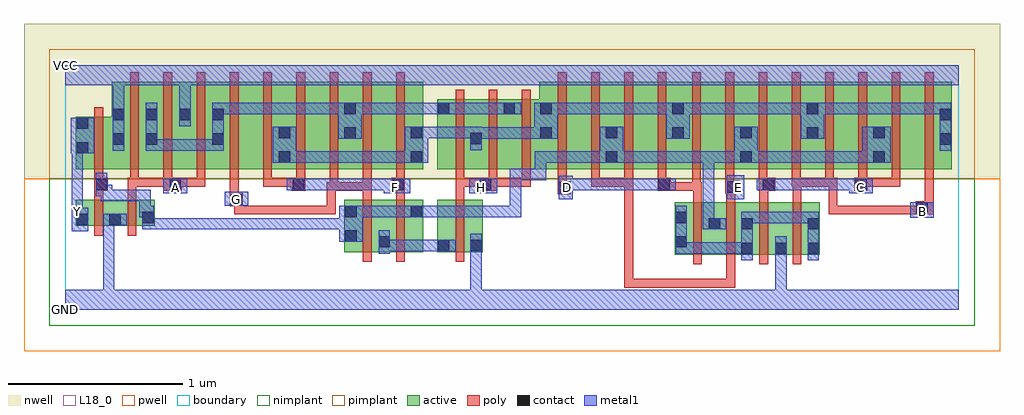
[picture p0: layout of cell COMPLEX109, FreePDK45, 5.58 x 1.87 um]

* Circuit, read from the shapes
.subckt COMPLEX109 A B C D E F G GND H VCC Y
M1 GND n1 Y VSUBS nfet w=0.15u l=0.05u
M2 n1 A GND VSUBS nfet w=0.15u l=0.05u
M3 n2 G n1 VSUBS nfet w=0.3u l=0.05u
M4 n1 F n2 VSUBS nfet w=0.3u l=0.05u
M5 GND H n2 VSUBS nfet w=0.3u l=0.05u
M6 n1 D n3 VSUBS nfet w=0.3u l=0.05u
M7 n3 E n1 VSUBS nfet w=0.3u l=0.05u
M8 GND C n3 VSUBS nfet w=0.3u l=0.05u
M9 n3 B GND VSUBS nfet w=0.3u l=0.05u
M10 VCC n1 Y n4 pfet w=0.3u l=0.05u
M11 n5 A VCC n4 pfet w=0.5u l=0.05u m=3
M12 n6 G n5 n4 pfet w=0.5u l=0.05u
M13 n7 F n6 n4 pfet w=0.5u l=0.05u
M14 n8 F n7 n4 pfet w=0.5u l=0.05u
M15 n5 G n8 n4 pfet w=0.5u l=0.05u
M16 n9 G n5 n4 pfet w=0.5u l=0.05u
M17 n7 F n9 n4 pfet w=0.5u l=0.05u
M18 n7 H n5 n4 pfet w=0.4u l=0.05u m=3
M19 n10 D n7 n4 pfet w=0.5u l=0.05u
M20 n1 E n10 n4 pfet w=0.5u l=0.05u
M21 n11 E n1 n4 pfet w=0.5u l=0.05u
M22 n7 D n11 n4 pfet w=0.5u l=0.05u
M23 n12 D n7 n4 pfet w=0.5u l=0.05u
M24 n1 E n12 n4 pfet w=0.5u l=0.05u
M25 n13 C n1 n4 pfet w=0.5u l=0.05u
M26 n7 B n13 n4 pfet w=0.5u l=0.05u
M27 n14 B n7 n4 pfet w=0.5u l=0.05u
M28 n1 C n14 n4 pfet w=0.5u l=0.05u
M29 n15 C n1 n4 pfet w=0.5u l=0.05u
M30 n7 B n15 n4 pfet w=0.5u l=0.05u
.ends

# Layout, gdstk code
import gdstk
lib = gdstk.Library(unit=1e-6, precision=1e-09)
def R(c, l, rs):  # rectangles x0, y0, x1, y1
    for r in rs: c.add(gdstk.rectangle(r[:2], r[2:], *l))
def A(c, l, x, y, w, h, nx, ny, dx, dy):  # array of equal rectangles
    R(c, l, [(x+i*dx, y+j*dy, x+i*dx+w, y+j*dy+h) for i in range(nx) for j in range(ny)])
active = (1, 0)
pwell = (2, 0)
nwell = (3, 0)
nimplant = (4, 0)
pimplant = (5, 0)
poly = (9, 0)
contact = (10, 0)
metal1 = (11, 0)
L18_0 = (18, 0)
boundary = (235, 0)

complex109 = lib.new_cell('COMPLEX109')
A(complex109, active, 0.267, 0.805, 0.265, 0.5, 3, 1, 0.19, 0)
A(complex109, active, 3.705, 0.805, 0.225, 0.5, 4, 1, 0.38, 0)
A(complex109, active, 3.855, 0.805, 0.23, 0.5, 3, 1, 0.38, 0)
R(complex109, active, [(3.485,0.315,3.56,0.615), (3.485,0.315,3.75,0.615), (3.675,0.315,3.935,0.615), (3.86,0.315,4.13,0.615), (3.86,0.315,3.935,0.53), (4.055,0.315,4.315,0.615), (4.055,0.315,4.13,0.497), (4.24,0.315,4.315,0.615), (1.597,0.33,1.862,0.63), (1.787,0.33,2.047,0.63), (1.787,0.33,1.862,0.497), (2.127,0.33,2.202,0.63), (2.127,0.33,2.387,0.63), (2.312,0.33,2.387,0.532), (1.972,0.332,2.047,0.63), (1.597,0.357,1.672,0.63), (3.675,0.357,3.75,0.53), (0.062,0.48,0.137,0.63), (0.062,0.48,0.322,0.63), (0.247,0.48,0.512,0.63), (0.247,0.48,0.322,0.585), (0.437,0.48,0.512,0.63), (0.062,0.805,0.137,1.105), (0.062,0.805,0.342,1.105), (0.267,0.805,0.342,1.305), (0.837,0.805,1.062,1.305), (1.062,0.805,1.292,1.305), (1.217,0.805,1.442,1.305), (1.442,0.805,1.667,1.305), (1.592,0.805,1.822,1.305), (1.822,0.805,2.047,1.305), (1.972,0.805,2.047,1.07), (2.127,0.805,2.202,1.2), (2.127,0.805,2.387,1.205), (2.312,0.805,2.577,1.205), (2.502,0.805,2.787,1.205), (2.712,0.805,2.937,1.305), (2.937,0.805,3.162,1.305), (3.087,0.805,3.317,1.305), (3.087,0.805,3.162,1.07), (3.317,0.805,3.542,1.305), (3.467,0.805,3.542,1.2), (3.467,0.805,3.705,1.305), (3.855,0.805,3.93,1.07), (4.235,0.805,4.31,1.2), (4.615,0.805,4.69,1.07), (4.995,0.805,5.07,1.2), (0.457,0.807,0.532,1.2), (0.647,0.807,0.722,1.305), (0.837,0.807,0.912,1.2), (1.217,0.807,1.292,1.07), (1.592,0.807,1.667,1.2), (2.312,0.907,2.387,1.07), (2.502,0.907,2.577,1.2), (2.712,0.907,2.787,1.2)])
R(complex109, pwell, [(-0.235,-0.235,5.345,0.75)])
R(complex109, nwell, [(-0.235,0.75,5.345,1.635)])
R(complex109, nimplant, [(-0.09,-0.09,5.2,0.75)])
R(complex109, pimplant, [(-0.09,0.75,5.2,1.49)])
A(complex109, poly, 3.59, 0.26, 0.05, 0.41, 4, 1, 0.19, 0)
A(complex109, poly, 0.372, 0.705, 0.05, 0.095, 3, 1, 0.19, 0)
A(complex109, poly, 2.232, 0.705, 0.05, 0.095, 3, 1, 0.19, 0)
A(complex109, poly, 3.007, 0.705, 0.05, 0.095, 3, 1, 0.19, 0)
A(complex109, poly, 3.965, 0.705, 0.05, 0.095, 5, 1, 0.19, 0)
A(complex109, poly, 0.372, 0.75, 0.05, 0.61, 9, 1, 0.19, 0)
A(complex109, poly, 2.232, 0.75, 0.05, 0.51, 3, 1, 0.19, 0)
A(complex109, poly, 2.817, 0.75, 0.05, 0.61, 4, 1, 0.19, 0)
A(complex109, poly, 3.585, 0.75, 0.05, 0.61, 8, 1, 0.19, 0)
R(complex109, poly, [(3.197,0.127,3.247,0.177), (3.197,0.127,3.462,0.177), (3.197,0.127,3.247,0.755), (3.412,0.127,3.462,0.177), (3.412,0.127,3.462,0.177), (3.412,0.127,3.462,0.177), (3.412,0.127,3.595,0.177), (3.545,0.127,3.595,0.177), (3.545,0.127,3.83,0.177), (3.78,0.127,3.83,0.177), (3.78,0.127,3.83,0.177), (3.78,0.127,3.83,0.177), (3.78,0.127,3.83,0.31), (1.702,0.275,1.752,0.685), (1.892,0.275,1.942,0.685), (2.232,0.275,2.282,0.685), (0.167,0.425,0.217,0.685), (0.357,0.425,0.407,0.685), (0.967,0.547,1.017,0.597), (0.967,0.547,1.017,0.597), (0.967,0.547,1.017,0.597), (0.967,0.547,1.017,0.642), (0.967,0.547,1.202,0.597), (1.152,0.547,1.202,0.597), (1.152,0.547,1.202,0.597), (1.152,0.547,1.202,0.597), (1.152,0.547,1.335,0.597), (1.285,0.547,1.335,0.597), (1.285,0.547,1.547,0.597), (1.497,0.547,1.547,0.597), (1.497,0.547,1.547,0.597), (1.497,0.547,1.547,0.597), (1.497,0.547,1.547,0.597), (1.497,0.547,1.547,0.597), (1.497,0.547,1.547,0.73), (4.365,0.547,4.415,0.597), (4.365,0.547,4.415,0.597), (4.365,0.547,4.415,0.597), (4.365,0.547,4.547,0.597), (4.365,0.547,4.415,0.755), (4.497,0.547,4.547,0.597), (4.497,0.547,4.72,0.597), (4.67,0.547,4.72,0.597), (4.67,0.547,4.72,0.597), (4.67,0.547,4.72,0.597), (4.67,0.547,4.912,0.597), (4.862,0.547,4.912,0.597), (4.862,0.547,4.912,0.597), (4.862,0.547,4.912,0.597), (4.862,0.547,4.912,0.597), (4.862,0.547,4.912,0.597), (4.862,0.547,4.912,0.597), (4.862,0.547,4.965,0.622), (4.915,0.572,4.965,0.8), (0.942,0.592,1.017,0.667), (0.967,0.592,1.017,0.642), (0.967,0.592,1.017,0.642), (0.942,0.617,0.992,0.8), (3.59,0.62,3.64,0.73), (3.78,0.62,3.83,0.715), (3.97,0.62,4.02,0.73), (4.16,0.62,4.21,0.755), (0.167,0.635,0.217,0.73), (0.357,0.635,0.407,0.755), (1.702,0.635,1.752,0.73), (1.892,0.635,1.942,0.73), (2.232,0.635,2.282,0.755), (2.817,0.662,2.892,0.737), (3.775,0.665,3.852,0.74), (0.167,0.68,0.245,0.755), (0.562,0.68,0.667,0.755), (1.297,0.68,1.372,0.755), (1.497,0.68,1.562,0.73), (1.512,0.68,1.562,0.8), (1.512,0.68,1.68,0.73), (1.63,0.68,1.68,0.73), (1.63,0.68,1.752,0.73), (1.702,0.68,1.752,0.73), (1.702,0.68,1.752,0.8), (1.867,0.68,1.942,0.755), (2.365,0.68,2.472,0.755), (3.387,0.68,3.462,0.755), (3.412,0.68,3.462,0.73), (3.412,0.68,3.462,0.73), (3.412,0.68,3.635,0.73), (3.585,0.68,3.64,0.73), (3.585,0.68,3.635,0.8), (3.965,0.68,4.06,0.755), (4.512,0.68,4.587,0.755), (2.817,0.687,2.867,0.8), (3.775,0.69,3.825,0.8), (0.167,0.705,0.217,0.8), (0.357,0.705,0.422,0.755), (0.372,0.705,0.422,0.755), (0.372,0.705,0.422,0.755), (0.372,0.705,0.612,0.755), (0.617,0.705,0.802,0.755), (0.752,0.705,0.802,0.755), (0.752,0.705,0.802,0.755), (0.752,0.705,0.802,0.755), (1.132,0.705,1.182,0.755), (1.132,0.705,1.182,0.8), (1.132,0.705,1.347,0.755), (1.297,0.705,1.347,0.755), (1.297,0.705,1.347,0.755), (1.322,0.705,1.372,0.8), (1.892,0.705,1.942,0.8), (2.232,0.705,2.282,0.755), (2.232,0.705,2.282,0.755), (2.232,0.705,2.282,0.755), (2.232,0.705,2.415,0.755), (2.422,0.705,2.662,0.755), (2.612,0.705,2.662,0.755), (2.612,0.705,2.662,0.755), (2.612,0.705,2.662,0.755), (3.007,0.705,3.057,0.755), (3.007,0.705,3.057,0.755), (3.007,0.705,3.057,0.755), (3.007,0.705,3.247,0.755), (3.197,0.705,3.247,0.755), (3.197,0.705,3.247,0.755), (3.197,0.705,3.247,0.755), (3.197,0.705,3.247,0.755), (3.197,0.705,3.247,0.755), (3.197,0.705,3.247,0.755), (3.197,0.705,3.247,0.755), (3.197,0.705,3.247,0.755), (3.197,0.705,3.247,0.755), (4.155,0.705,4.21,0.755), (4.16,0.705,4.21,0.755), (4.16,0.705,4.21,0.755), (4.16,0.705,4.395,0.755), (4.345,0.705,4.407,0.755), (4.357,0.705,4.407,0.755), (4.357,0.705,4.415,0.755), (4.537,0.705,4.775,0.755), (4.725,0.705,4.775,0.755), (4.725,0.705,4.775,0.755), (4.725,0.705,4.775,0.755), (0.167,0.75,0.217,1.16)])
A(complex109, contact, 0.272, 1.085, 0.065, 0.065, 4, 1, 0.19, 0)
R(complex109, contact, [(3.865,0.32,3.93,0.385), (4.06,0.32,4.125,0.385), (4.245,0.32,4.31,0.385), (2.132,0.335,2.197,0.4), (2.317,0.335,2.382,0.4), (1.792,0.357,1.857,0.422), (3.49,0.357,3.555,0.422), (1.602,0.39,1.667,0.455), (3.68,0.46,3.745,0.525), (3.865,0.46,3.93,0.525), (4.245,0.46,4.31,0.525), (0.067,0.485,0.132,0.55), (0.252,0.485,0.317,0.55), (0.442,0.495,0.507,0.56), (3.49,0.497,3.555,0.562), (1.602,0.53,1.667,0.595), (1.977,0.53,2.042,0.595), (4.867,0.552,4.932,0.617), (0.947,0.597,1.012,0.662), (2.822,0.667,2.887,0.732), (3.782,0.67,3.847,0.735), (0.175,0.685,0.24,0.75), (0.597,0.685,0.662,0.75), (1.302,0.685,1.367,0.75), (1.872,0.685,1.937,0.75), (2.37,0.685,2.435,0.75), (3.392,0.685,3.457,0.75), (3.99,0.685,4.055,0.75), (4.517,0.685,4.582,0.75), (1.222,0.842,1.287,0.907), (1.977,0.842,2.042,0.907), (3.092,0.842,3.157,0.907), (3.86,0.842,3.925,0.907), (4.62,0.842,4.685,0.907), (0.067,0.895,0.132,0.96), (0.272,0.945,0.337,1.01), (0.462,0.945,0.527,1.01), (0.842,0.945,0.907,1.01), (5,0.945,5.065,1.01), (2.317,0.947,2.382,1.012), (1.597,0.98,1.662,1.045), (2.717,0.98,2.782,1.045), (3.472,0.98,3.537,1.045), (4.24,0.98,4.305,1.045), (1.222,0.982,1.287,1.047), (1.977,0.982,2.042,1.047), (3.092,0.982,3.157,1.047), (3.86,0.982,3.925,1.047), (4.62,0.982,4.685,1.047), (0.067,1.035,0.132,1.1), (5,1.085,5.065,1.15), (1.597,1.12,1.662,1.185), (2.132,1.12,2.197,1.185), (2.507,1.12,2.572,1.185), (2.717,1.12,2.782,1.185), (3.472,1.12,3.537,1.185), (4.24,1.12,4.305,1.185)])
R(complex109, metal1, [(0,0,5.11,0.115), (0.217,0.05,0.282,0.115), (0.217,0.05,0.282,0.115), (0.217,0.05,0.282,0.115), (0.217,0.05,0.282,0.115), (0.217,0.05,0.282,0.115), (0.217,0.05,0.282,0.115), (0.217,0.05,0.282,0.55), (2.317,0.05,2.382,0.115), (2.317,0.05,2.382,0.115), (2.317,0.05,2.382,0.115), (2.317,0.05,2.382,0.115), (2.317,0.05,2.382,0.365), (4.06,0.05,4.125,0.35), (3.865,0.285,3.93,0.56), (4.06,0.285,4.125,0.35), (4.06,0.285,4.125,0.35), (4.06,0.285,4.125,0.35), (4.06,0.285,4.125,0.35), (4.06,0.285,4.125,0.42), (4.245,0.285,4.31,0.56), (2.317,0.3,2.382,0.435), (1.792,0.322,1.857,0.457), (3.49,0.322,3.555,0.597), (3.49,0.322,3.71,0.387), (3.645,0.322,3.71,0.387), (3.645,0.322,3.71,0.387), (3.645,0.322,3.71,0.387), (3.645,0.322,3.882,0.387), (3.817,0.322,3.882,0.387), (3.817,0.322,3.93,0.387), (1.792,0.335,1.965,0.4), (1.9,0.335,1.965,0.4), (1.9,0.335,2.05,0.4), (1.985,0.335,2.05,0.4), (1.985,0.335,2.162,0.4), (2.097,0.335,2.232,0.4), (1.567,0.39,1.702,0.595), (0.037,0.45,0.132,0.585), (0.442,0.46,0.507,0.595), (0.442,0.46,0.632,0.525), (0.567,0.46,0.632,0.525), (0.567,0.46,0.77,0.525), (0.705,0.46,0.77,0.525), (0.705,0.46,0.77,0.525), (0.705,0.46,0.77,0.525), (0.705,0.46,0.907,0.525), (0.842,0.46,0.907,0.525), (0.842,0.46,0.907,0.525), (0.842,0.46,0.907,0.525), (0.842,0.46,1.057,0.525), (0.992,0.46,1.057,0.525), (0.992,0.46,1.195,0.525), (1.13,0.46,1.195,0.525), (1.13,0.46,1.195,0.525), (1.13,0.46,1.195,0.525), (1.13,0.46,1.46,0.525), (1.395,0.46,1.46,0.525), (1.395,0.46,1.46,0.525), (1.395,0.46,1.46,0.525), (1.395,0.46,1.597,0.525), (1.532,0.46,1.597,0.525), (1.532,0.46,1.632,0.525), (3.645,0.46,3.78,0.525), (3.645,0.46,3.71,0.907), (0.217,0.485,0.352,0.55), (0.037,0.492,0.102,0.557), (0.037,0.492,0.102,0.627), (3.865,0.495,4.097,0.56), (4.032,0.495,4.097,0.56), (4.032,0.495,4.097,0.56), (4.032,0.495,4.097,0.56), (4.032,0.495,4.27,0.56), (4.205,0.495,4.27,0.56), (4.205,0.495,4.31,0.56), (4.832,0.527,4.967,0.617), (0.425,0.53,0.507,0.595), (0.425,0.53,0.49,0.687), (1.637,0.53,1.735,0.595), (1.67,0.53,1.735,0.595), (1.67,0.53,1.87,0.595), (1.805,0.53,1.87,0.595), (1.805,0.53,2.007,0.595), (1.942,0.53,2.007,0.595), (1.942,0.53,2.007,0.595), (1.942,0.53,2.077,0.595), (2.012,0.53,2.24,0.595), (2.175,0.53,2.24,0.595), (2.175,0.53,2.24,0.595), (2.175,0.53,2.24,0.595), (2.175,0.53,2.377,0.595), (2.312,0.53,2.377,0.595), (2.312,0.53,2.377,0.595), (2.312,0.53,2.377,0.595), (2.312,0.53,2.607,0.595), (2.542,0.53,2.607,0.595), (2.542,0.53,2.607,0.807), (0.037,0.562,0.102,0.96), (0.912,0.597,1.047,0.675), (0.205,0.622,0.27,0.687), (0.205,0.622,0.49,0.687), (0.205,0.622,0.27,0.715), (2.822,0.632,2.902,0.767), (3.782,0.632,3.882,0.77), (0.175,0.65,0.24,0.785), (0.175,0.65,0.27,0.715), (0.205,0.65,0.27,0.715), (0.562,0.667,0.697,0.75), (1.822,0.667,1.972,0.75), (2.312,0.667,2.47,0.75), (4.482,0.667,4.617,0.75), (1.267,0.685,1.402,0.75), (1.337,0.685,1.46,0.75), (1.395,0.685,1.46,0.75), (1.395,0.685,1.597,0.75), (1.532,0.685,1.597,0.75), (1.532,0.685,1.597,0.75), (1.532,0.685,1.597,0.75), (1.532,0.685,1.75,0.75), (1.685,0.685,1.75,0.75), (1.685,0.685,1.84,0.75), (1.775,0.685,1.84,0.75), (1.775,0.685,1.887,0.75), (2.837,0.685,2.955,0.75), (2.89,0.685,2.955,0.75), (2.89,0.685,3.122,0.75), (3.057,0.685,3.122,0.75), (3.057,0.685,3.122,0.75), (3.057,0.685,3.122,0.75), (3.057,0.685,3.26,0.75), (3.195,0.685,3.26,0.75), (3.195,0.685,3.34,0.75), (3.275,0.685,3.34,0.75), (3.275,0.685,3.422,0.75), (3.357,0.685,3.492,0.75), (3.955,0.685,4.09,0.75), (4.025,0.685,4.132,0.75), (4.067,0.685,4.132,0.75), (4.067,0.685,4.27,0.75), (4.205,0.685,4.27,0.75), (4.205,0.685,4.27,0.75), (4.205,0.685,4.27,0.75), (4.205,0.685,4.407,0.75), (4.342,0.685,4.407,0.75), (4.342,0.685,4.485,0.75), (4.42,0.685,4.485,0.75), (4.42,0.685,4.547,0.75), (2.542,0.742,2.607,0.807), (2.542,0.742,2.75,0.807), (2.685,0.742,2.75,0.807), (2.685,0.742,2.75,0.807), (2.685,0.742,2.75,0.807), (2.685,0.742,2.75,0.907), (1.187,0.842,1.322,1.047), (1.257,0.842,1.46,0.907), (1.395,0.842,1.46,0.907), (1.395,0.842,1.46,0.907), (1.395,0.842,1.46,0.907), (1.395,0.842,1.597,0.907), (1.532,0.842,1.597,0.907), (1.532,0.842,1.597,0.907), (1.532,0.842,1.597,0.907), (1.532,0.842,1.735,0.907), (1.67,0.842,1.735,0.907), (1.67,0.842,1.87,0.907), (1.805,0.842,1.87,0.907), (1.805,0.842,2.007,0.907), (1.942,0.842,2.007,0.907), (1.942,0.842,2.007,0.907), (1.942,0.842,2.077,1.047), (2.685,0.842,2.75,0.907), (2.685,0.842,2.955,0.907), (2.89,0.842,2.955,0.907), (2.89,0.842,2.955,0.907), (2.89,0.842,2.955,0.907), (2.89,0.842,3.122,0.907), (3.057,0.842,3.122,0.907), (3.057,0.842,3.122,0.907), (3.057,0.842,3.192,1.047), (3.127,0.842,3.26,0.907), (3.195,0.842,3.26,0.907), (3.195,0.842,3.34,0.907), (3.275,0.842,3.34,0.907), (3.275,0.842,3.477,0.907), (3.412,0.842,3.477,0.907), (3.412,0.842,3.477,0.907), (3.412,0.842,3.477,0.907), (3.412,0.842,3.71,0.907), (3.645,0.842,3.71,0.907), (3.645,0.842,3.71,0.907), (3.645,0.842,3.71,0.907), (3.645,0.842,3.71,0.907), (3.645,0.842,3.71,0.907), (3.645,0.842,3.882,0.907), (3.817,0.842,3.882,0.907), (3.817,0.842,3.89,0.907), (3.825,0.842,3.96,1.047), (3.895,0.842,4.132,0.907), (4.067,0.842,4.132,0.907), (4.067,0.842,4.132,0.907), (4.067,0.842,4.132,0.907), (4.067,0.842,4.27,0.907), (4.205,0.842,4.27,0.907), (4.205,0.842,4.27,0.907), (4.205,0.842,4.27,0.907), (4.205,0.842,4.407,0.907), (4.342,0.842,4.407,0.907), (4.342,0.842,4.485,0.907), (4.42,0.842,4.485,0.907), (4.42,0.842,4.622,0.907), (4.557,0.842,4.622,0.907), (4.557,0.842,4.622,0.907), (4.557,0.842,4.72,1.047), (0.032,0.895,0.167,1.1), (0.272,0.91,0.337,1.185), (0.462,0.91,0.527,1.185), (0.462,0.91,0.632,0.975), (0.567,0.91,0.632,0.975), (0.567,0.91,0.77,0.975), (0.705,0.91,0.77,0.975), (0.705,0.91,0.77,0.975), (0.705,0.91,0.77,0.975), (0.705,0.91,0.907,0.975), (0.842,0.91,0.907,1.185), (5,0.91,5.065,1.185), (2.317,0.912,2.382,1.047), (1.562,0.98,1.697,1.185), (2.317,0.98,2.382,1.045), (2.317,0.98,2.382,1.045), (2.317,0.98,2.607,1.045), (2.542,0.98,2.607,1.045), (2.542,0.98,2.607,1.045), (2.542,0.98,2.607,1.045), (2.542,0.98,2.747,1.045), (2.682,0.98,2.817,1.185), (3.437,0.98,3.572,1.185), (4.205,0.98,4.34,1.185), (2.012,0.982,2.215,1.047), (2.15,0.982,2.215,1.047), (2.15,0.982,2.215,1.047), (2.15,0.982,2.215,1.047), (2.15,0.982,2.382,1.047), (0.652,1.05,0.717,1.185), (0.272,1.12,0.337,1.35), (0.652,1.12,0.717,1.35), (0.842,1.12,0.907,1.185), (0.842,1.12,0.907,1.185), (0.842,1.12,1.045,1.185), (0.98,1.12,1.045,1.185), (0.98,1.12,1.045,1.185), (0.98,1.12,1.045,1.185), (0.98,1.12,1.322,1.185), (1.257,1.12,1.322,1.185), (1.257,1.12,1.46,1.185), (1.395,1.12,1.46,1.185), (1.395,1.12,1.46,1.185), (1.395,1.12,1.46,1.185), (1.395,1.12,1.597,1.185), (1.532,1.12,1.597,1.185), (1.532,1.12,1.627,1.185), (1.632,1.12,1.735,1.185), (1.67,1.12,1.735,1.185), (1.67,1.12,1.84,1.185), (1.775,1.12,1.84,1.185), (1.775,1.12,2.007,1.185), (1.942,1.12,2.007,1.185), (1.942,1.12,2.007,1.185), (1.942,1.12,2.007,1.185), (1.942,1.12,2.162,1.185), (2.097,1.12,2.232,1.185), (2.167,1.12,2.232,1.185), (2.167,1.12,2.232,1.185), (2.167,1.12,2.4,1.185), (2.335,1.12,2.4,1.185), (2.335,1.12,2.4,1.185), (2.335,1.12,2.4,1.185), (2.335,1.12,2.537,1.185), (2.472,1.12,2.607,1.185), (2.752,1.12,2.955,1.185), (2.89,1.12,2.955,1.185), (2.89,1.12,2.955,1.185), (2.89,1.12,2.955,1.185), (2.89,1.12,3.122,1.185), (3.057,1.12,3.122,1.185), (3.057,1.12,3.122,1.185), (3.057,1.12,3.122,1.185), (3.057,1.12,3.26,1.185), (3.195,1.12,3.26,1.185), (3.195,1.12,3.34,1.185), (3.275,1.12,3.34,1.185), (3.275,1.12,3.502,1.185), (3.437,1.12,3.502,1.185), (3.437,1.12,3.502,1.185), (3.507,1.12,3.71,1.185), (3.645,1.12,3.71,1.185), (3.645,1.12,3.71,1.185), (3.645,1.12,3.71,1.185), (3.645,1.12,3.882,1.185), (3.817,1.12,3.882,1.185), (3.817,1.12,3.882,1.185), (3.817,1.12,3.882,1.185), (3.817,1.12,4.097,1.185), (4.032,1.12,4.097,1.185), (4.032,1.12,4.097,1.185), (4.032,1.12,4.097,1.185), (4.032,1.12,4.27,1.185), (4.205,1.12,4.27,1.185), (4.205,1.12,4.27,1.185), (4.275,1.12,4.407,1.185), (4.342,1.12,4.407,1.185), (4.342,1.12,4.477,1.185), (4.412,1.12,4.477,1.185), (4.412,1.12,4.622,1.185), (4.557,1.12,4.622,1.185), (4.557,1.12,4.622,1.185), (4.557,1.12,4.622,1.185), (4.557,1.12,4.76,1.185), (4.695,1.12,4.76,1.185), (4.695,1.12,4.76,1.185), (4.695,1.12,4.76,1.185), (4.695,1.12,5.065,1.185), (5,1.12,5.065,1.185), (5,1.12,5.065,1.185), (0,1.285,5.11,1.4)])
A(complex109, L18_0, 1.857, 0.667, 0.065, 0.065, 3, 1, 0.49, 0)
R(complex109, L18_0, [(0,0,5.11,0.115), (0.217,0.05,0.282,0.115), (0.217,0.05,0.282,0.115), (0.217,0.05,0.282,0.115), (0.217,0.05,0.282,0.115), (0.217,0.05,0.282,0.115), (0.217,0.05,0.282,0.115), (0.217,0.05,0.282,0.55), (2.317,0.05,2.382,0.115), (2.317,0.05,2.382,0.115), (2.317,0.05,2.382,0.115), (2.317,0.05,2.382,0.115), (2.317,0.05,2.382,0.365), (4.06,0.05,4.125,0.35), (4.06,0.285,4.125,0.42), (4.06,0.285,4.125,0.35), (4.06,0.285,4.125,0.35), (4.06,0.285,4.125,0.35), (4.06,0.285,4.125,0.35), (2.317,0.3,2.382,0.435), (0.037,0.45,0.132,0.585), (0.217,0.485,0.352,0.55), (0.037,0.492,0.102,0.627), (0.037,0.492,0.102,0.557), (0.037,0.527,0.102,0.592), (4.832,0.527,4.967,0.617), (4.867,0.527,4.932,0.592), (0.037,0.562,0.102,0.96), (0.912,0.597,1.047,0.675), (0.947,0.597,1.012,0.662), (2.822,0.632,2.902,0.767), (3.782,0.632,3.882,0.77), (0.562,0.667,0.697,0.75), (0.597,0.667,0.662,0.732), (1.822,0.667,1.972,0.75), (2.312,0.667,2.47,0.75), (3.817,0.667,3.882,0.732), (4.482,0.667,4.617,0.75), (4.517,0.667,4.582,0.732), (1.267,0.685,1.402,0.75), (1.337,0.685,1.46,0.75), (1.395,0.685,1.46,0.75), (1.395,0.685,1.597,0.75), (1.532,0.685,1.597,0.75), (1.532,0.685,1.597,0.75), (1.532,0.685,1.597,0.75), (1.532,0.685,1.75,0.75), (1.685,0.685,1.75,0.75), (1.685,0.685,1.84,0.75), (1.775,0.685,1.84,0.75), (1.775,0.685,1.887,0.75), (2.837,0.685,2.955,0.75), (2.89,0.685,2.955,0.75), (2.89,0.685,3.122,0.75), (3.057,0.685,3.122,0.75), (3.057,0.685,3.122,0.75), (3.057,0.685,3.122,0.75), (3.057,0.685,3.26,0.75), (3.195,0.685,3.26,0.75), (3.195,0.685,3.34,0.75), (3.275,0.685,3.34,0.75), (3.275,0.685,3.422,0.75), (3.357,0.685,3.492,0.75), (3.955,0.685,4.09,0.75), (4.025,0.685,4.132,0.75), (4.067,0.685,4.132,0.75), (4.067,0.685,4.27,0.75), (4.205,0.685,4.27,0.75), (4.205,0.685,4.27,0.75), (4.205,0.685,4.27,0.75), (4.205,0.685,4.407,0.75), (4.342,0.685,4.407,0.75), (4.342,0.685,4.485,0.75), (4.42,0.685,4.485,0.75), (4.42,0.685,4.547,0.75), (0.032,0.895,0.167,1.1), (0.272,0.91,0.337,1.185), (0.652,1.05,0.717,1.185), (0.272,1.12,0.337,1.35), (0.652,1.12,0.717,1.35), (0,1.285,5.11,1.4)])
R(complex109, boundary, [(0,0,5.11,1.4)])
complex109.add(gdstk.Label('A', (0.63,0.7), layer=11, texttype=0))
complex109.add(gdstk.Label('B', (4.9,0.56), layer=11, texttype=0))
complex109.add(gdstk.Label('C', (4.55,0.7), layer=11, texttype=0))
complex109.add(gdstk.Label('D', (2.87,0.7), layer=11, texttype=0))
complex109.add(gdstk.Label('E', (3.85,0.7), layer=11, texttype=0))
complex109.add(gdstk.Label('F', (1.89,0.7), layer=11, texttype=0))
complex109.add(gdstk.Label('G', (0.98,0.63), layer=11, texttype=0))
complex109.add(gdstk.Label('H', (2.38,0.7), layer=11, texttype=0))
complex109.add(gdstk.Label('Y', (0.07,0.56), layer=11, texttype=0))
complex109.add(gdstk.Label('VCC', (0,1.4), layer=11, texttype=0))
complex109.add(gdstk.Label('GND', (0,0), layer=11, texttype=0))

lib.write_gds('COMPLEX109.gds')
